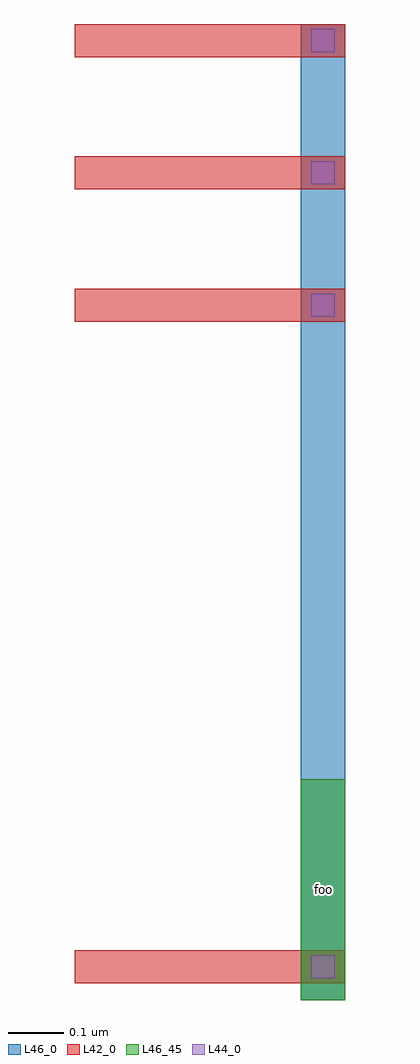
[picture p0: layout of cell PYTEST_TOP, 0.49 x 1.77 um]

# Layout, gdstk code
import gdstk
lib = gdstk.Library(unit=1e-6, precision=1e-09)
def R(c, l, rs):  # rectangles x0, y0, x1, y1
    for r in rs: c.add(gdstk.rectangle(r[:2], r[2:], *l))
def A(c, l, x, y, w, h, nx, ny, dx, dy):  # array of equal rectangles
    R(c, l, [(x+i*dx, y+j*dy, x+i*dx+w, y+j*dy+h) for i in range(nx) for j in range(ny)])
L42_0 = (42, 0)
L44_0 = (44, 0)
L46_0 = (46, 0)
L46_45 = (46, 45)

pytest_top = lib.new_cell('PYTEST_TOP')
A(pytest_top, L42_0, 0, 1.23, 0.49, 0.06, 1, 3, 0, 0.24)
A(pytest_top, L42_0, 0.41, 1.23, 0.08, 0.06, 1, 3, 0, 0.24)
R(pytest_top, L42_0, [(0,0.03,0.49,0.09), (0.41,0.03,0.49,0.09)])
A(pytest_top, L44_0, 0.429, 1.239, 0.042, 0.042, 1, 3, 0, 0.24)
R(pytest_top, L44_0, [(0.429,0.039,0.471,0.081)])
A(pytest_top, L46_0, 0.41, 1.23, 0.08, 0.06, 1, 3, 0, 0.24)
R(pytest_top, L46_0, [(0.41,0,0.49,1.77), (0.41,0.03,0.49,0.09)])
R(pytest_top, L46_45, [(0.41,0,0.49,0.4)])
pytest_top.add(gdstk.Label('foo', (0.45,0.2), layer=46, texttype=45))

lib.write_gds('PYTEST_TOP.gds')
